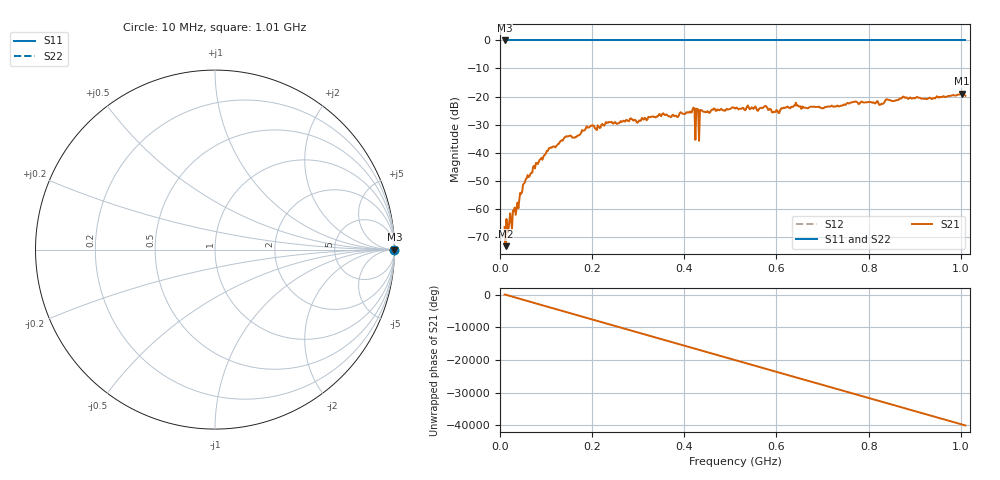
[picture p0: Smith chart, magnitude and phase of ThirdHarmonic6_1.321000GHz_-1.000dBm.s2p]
! 8/16/2025 2:41:40 PM
! C:\ANRITSUVNA\TEMP\TEMP.S2P
! CHANNEL.1
! TR.MEASUREMENT
! RAW.DATA
! RF.CORRECTION.OFF
! AVERAGING.OFF
! IF.BANDWIDTH: 5KHZ
! SWEEPTYPE:  FREQ.SWEEP(Linear)
! Reference Plane Port Info
! PORT:  PORT1  PORT2
! DISTANCE:  0  m  0  m
! TIME:  0  s  0  s
! PHASE.OFFSET:  0  deg.  0  deg.
! LOSS:  0  dB  0  dB
! REF.LOSS:  0  dB  0  dB
! REF.FREQ:  0  Hz  0  Hz
! Power Info
! POWER:  -20  dBm  -20  dBm
! EFF.POWER:  -20  dBm  -20  dBm
! SOURCE.ATTEN:  0  dB  0  dB
! TEST.ATTEN:  0  dB  0  dB
# GHZ S RI R 50.0
! FREQ.GHZ  S11RE  S11IM  S21RE  S21IM  S12RE  S12IM  S22RE  S22IM
!; PortSelection: Port_12
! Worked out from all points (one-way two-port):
!   501 points, 10 MHz to 1.01 GHz, reference 50 ohm
!   highest |S21| = -19.03 dB at 1.002 GHz (marker M1); lowest = -73.4 dB at 12 MHz (marker M2)
!   lowest |S11| = 0.0 dB at 10 MHz (marker M3)
!   |S11| at or under -10 dB: nowhere
!   |S22| runs from 0.0 to 0.0 dB; largest |S21 - S12| = 1.1
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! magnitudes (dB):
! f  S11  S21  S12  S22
! 10 MHz  0.0  -66.5  0.0  0.0
! 12 MHz  0.0  -73.4  0.0  0.0
! 38 MHz  0.0  -57.8  0.0  0.0
! 54 MHz  0.0  -50.6  0.0  0.0
! 76 MHz  0.0  -45.6  0.0  0.0
! 110 MHz  0.0  -38.2  0.0  0.0
! 178 MHz  0.0  -32.0  0.0  0.0
! 234 MHz  0.0  -29.4  0.0  0.0
! 344 MHz  0.0  -26.7  0.0  0.0
! 418 MHz  0.0  -24.6  0.0  0.0
! 420 MHz  0.0  -24.0  0.0  0.0
! 426 MHz  0.0  -24.3  0.0  0.0
! 428 MHz  0.0  -24.7  0.0  0.0
! 438 MHz  0.0  -25.0  0.0  0.0
! 510 MHz  0.0  -24.3  0.0  0.0
! 576 MHz  0.0  -23.3  0.0  0.0
! 594 MHz  0.0  -25.4  0.0  0.0
! 642 MHz  0.0  -22.2  0.0  0.0
! 678 MHz  0.0  -23.7  0.0  0.0
! 844 MHz  0.0  -21.2  0.0  0.0
! 1.002 GHz  0.0  -19.0  0.0  0.0
! 1.01 GHz  0.0  -19.8  0.0  0.0
